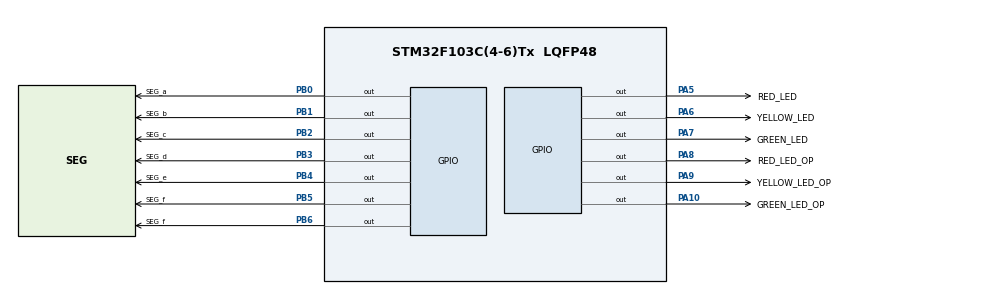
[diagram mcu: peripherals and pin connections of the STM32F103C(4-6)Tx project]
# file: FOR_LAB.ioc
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Mcu.Family=STM32F1
Mcu.Name=STM32F103C(4-6)Tx
Mcu.Package=LQFP48
NVIC.PriorityGroup=NVIC_PRIORITYGROUP_4
PA10.GPIO_Label=GREEN_LED_OP
PA10.Signal=GPIO_Output
PA5.GPIO_Label=RED_LED
PA5.Signal=GPIO_Output
PA6.GPIO_Label=YELLOW_LED
PA6.Signal=GPIO_Output
PA7.GPIO_Label=GREEN_LED
PA7.Signal=GPIO_Output
PA8.GPIO_Label=RED_LED_OP
PA8.Signal=GPIO_Output
PA9.GPIO_Label=YELLOW_LED_OP
PA9.Signal=GPIO_Output
PB0.GPIO_Label=SEG_a
PB0.Signal=GPIO_Output
PB1.GPIO_Label=SEG_b
PB1.Signal=GPIO_Output
PB2.GPIO_Label=SEG_c
PB2.Signal=GPIO_Output
PB3.GPIO_Label=SEG_d
PB3.Signal=GPIO_Output
PB4.GPIO_Label=SEG_e
PB4.Signal=GPIO_Output
PB5.GPIO_Label=SEG_f
PB5.Signal=GPIO_Output
PB6.GPIO_Label=SEG_f
PB6.Signal=GPIO_Output
ProjectManager.HeapSize=0x200
ProjectManager.StackSize=0x400
ProjectManager.TargetToolchain=STM32CubeIDE
RCC.APB1Freq_Value=8000000
RCC.APB2Freq_Value=8000000
VP_SYS_VS_ND.Mode=No_Debug
board=custom

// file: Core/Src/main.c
/* USER CODE BEGIN Header */
/**
  ******************************************************************************
  * @file           : main.c
  * @brief          : Main program body
  ******************************************************************************
  * @attention
  *
  * <h2><center>&copy; Copyright (c) 2025 STMicroelectronics.
  * All rights reserved.</center></h2>
  *
  * This software component is licensed by ST under BSD 3-Clause license,
  * the "License"; You may not use this file except in compliance with the
  * License. You may obtain a copy of the License at:
  *                        opensource.org/licenses/BSD-3-Clause
  *
  ******************************************************************************
  */
/* USER CODE END Header */
#include "main.h"

void SystemClock_Config(void);
static void MX_GPIO_Init(void);
/* USER CODE BEGIN PFP */
void clearAllClock();
void setNumberOnClock(int num);
void clearNumberOnClock(int num);
/* USER CODE END PFP */

/* USER CODE BEGIN 0 */
void clearAllClock(){
	HAL_GPIO_WritePin(GPIOA, LED_1, GPIO_PIN_SET);
	HAL_GPIO_WritePin(GPIOA, LED_2, GPIO_PIN_SET);
	HAL_GPIO_WritePin(GPIOA, LED_3, GPIO_PIN_SET);
	HAL_GPIO_WritePin(GPIOA, LED_4, GPIO_PIN_SET);
	HAL_GPIO_WritePin(GPIOA, LED_5, GPIO_PIN_SET);
	HAL_GPIO_WritePin(GPIOA, LED_6, GPIO_PIN_SET);
	HAL_GPIO_WritePin(GPIOA, LED_7, GPIO_PIN_SET);
	HAL_GPIO_WritePin(GPIOA, LED_8, GPIO_PIN_SET);
	HAL_GPIO_WritePin(GPIOA, LED_9, GPIO_PIN_SET);
	HAL_GPIO_WritePin(GPIOA, LED_10, GPIO_PIN_SET);
	HAL_GPIO_WritePin(GPIOA, LED_11, GPIO_PIN_SET);
	HAL_GPIO_WritePin(GPIOA, LED_0, GPIO_PIN_SET);
}

void setNumberOnClock(int num){
	switch(num){
	case 0:
		HAL_GPIO_WritePin(GPIOA, LED_0, GPIO_PIN_RESET);
		break;
	case 1:
		HAL_GPIO_WritePin(GPIOA, LED_1, GPIO_PIN_RESET);
		break;
	case 2:
		HAL_GPIO_WritePin(GPIOA, LED_2, GPIO_PIN_RESET);
		break;
	case 3:
		HAL_GPIO_WritePin(GPIOA, LED_3, GPIO_PIN_RESET);
		break;
	case 4:
		HAL_GPIO_WritePin(GPIOA, LED_4, GPIO_PIN_RESET);
		break;
	case 5:
		HAL_GPIO_WritePin(GPIOA, LED_5, GPIO_PIN_RESET);
		break;
	case 6:
		HAL_GPIO_WritePin(GPIOA, LED_6, GPIO_PIN_RESET);
		break;
	case 7:
		HAL_GPIO_WritePin(GPIOA, LED_7, GPIO_PIN_RESET);
		break;
	case 8:
		HAL_GPIO_WritePin(GPIOA, LED_8, GPIO_PIN_RESET);
		break;
	case 9:
		HAL_GPIO_WritePin(GPIOA, LED_9, GPIO_PIN_RESET);
		break;
	case 10:
		HAL_GPIO_WritePin(GPIOA, LED_10, GPIO_PIN_RESET);
		break;
	case 11:
		HAL_GPIO_WritePin(GPIOA, LED_11, GPIO_PIN_RESET);
		break;
	}
}

void clearNumberOnClock(int num){
	switch(num){
	case 0:
		HAL_GPIO_WritePin(GPIOA, LED_0, GPIO_PIN_SET);
		break;
	case 1:
		HAL_GPIO_WritePin(GPIOA, LED_1, GPIO_PIN_SET);
		break;
	case 2:
		HAL_GPIO_WritePin(GPIOA, LED_2, GPIO_PIN_SET);
		break;
	case 3:
		HAL_GPIO_WritePin(GPIOA, LED_3, GPIO_PIN_SET);
		break;
	case 4:
		HAL_GPIO_WritePin(GPIOA, LED_4, GPIO_PIN_SET);
		break;
	case 5:
		HAL_GPIO_WritePin(GPIOA, LED_5, GPIO_PIN_SET);
		break;
	case 6:
		HAL_GPIO_WritePin(GPIOA, LED_6, GPIO_PIN_SET);
		break;
	case 7:
		HAL_GPIO_WritePin(GPIOA, LED_7, GPIO_PIN_SET);
		break;
	case 8:
		HAL_GPIO_WritePin(GPIOA, LED_8, GPIO_PIN_SET);
		break;
	case 9:
		HAL_GPIO_WritePin(GPIOA, LED_9, GPIO_PIN_SET);
		break;
	case 10:
		HAL_GPIO_WritePin(GPIOA, LED_10, GPIO_PIN_SET);
		break;
	case 11:
		HAL_GPIO_WritePin(GPIOA, LED_11, GPIO_PIN_SET);
		break;
	}
}
/* USER CODE END 0 */

int main(void)
{

  /* MCU Configuration--------------------------------------------------------*/

  /* Reset of all peripherals, Initializes the Flash interface and the Systick. */
  HAL_Init();

  /* Configure the system clock */
  SystemClock_Config();

  /* Initialize all configured peripherals */
  MX_GPIO_Init();

  /* Infinite loop */
  /* USER CODE BEGIN WHILE */
  int sec = 0;
  int min = 55;
  int hour = 5;
  clearAllClock();
  while (1)
  {
	  if(sec == 60){
		  ++min;
		  sec = 0;
	  }
	  if(min == 60){
		  ++hour;
		  min = 0;
	  }
	  if(hour == 24){
		  hour = 0;
	  }
	  setNumberOnClock(sec / 5);
	  setNumberOnClock(min / 5);
	  setNumberOnClock(hour % 12);
	  HAL_Delay(100);
	  clearNumberOnClock(sec / 5);
	  clearNumberOnClock(min / 5);
	  clearNumberOnClock(hour % 12);

	  ++sec;
    /* USER CODE END WHILE */

  }
}

void SystemClock_Config(void)
{
  RCC_OscInitTypeDef RCC_OscInitStruct = {0};
  RCC_ClkInitTypeDef RCC_ClkInitStruct = {0};

  /** Initializes the RCC Oscillators according to the specified parameters
  * in the RCC_OscInitTypeDef structure.
  */
  RCC_OscInitStruct.OscillatorType = RCC_OSCILLATORTYPE_HSI;
  RCC_OscInitStruct.HSIState = RCC_HSI_ON;
  RCC_OscInitStruct.HSICalibrationValue = RCC_HSICALIBRATION_DEFAULT;
  RCC_OscInitStruct.PLL.PLLState = RCC_PLL_NONE;
  if (HAL_RCC_OscConfig(&RCC_OscInitStruct) != HAL_OK)
  {
    Error_Handler();
  }
  /** Initializes the CPU, AHB and APB buses clocks
  */
  RCC_ClkInitStruct.ClockType = RCC_CLOCKTYPE_HCLK|RCC_CLOCKTYPE_SYSCLK
                              |RCC_CLOCKTYPE_PCLK1|RCC_CLOCKTYPE_PCLK2;
  RCC_ClkInitStruct.SYSCLKSource = RCC_SYSCLKSOURCE_HSI;
  RCC_ClkInitStruct.AHBCLKDivider = RCC_SYSCLK_DIV1;
  RCC_ClkInitStruct.APB1CLKDivider = RCC_HCLK_DIV1;
  RCC_ClkInitStruct.APB2CLKDivider = RCC_HCLK_DIV1;

  if (HAL_RCC_ClockConfig(&RCC_ClkInitStruct, FLASH_LATENCY_0) != HAL_OK)
  {
    Error_Handler();
  }
}

static void MX_GPIO_Init(void)
{
  GPIO_InitTypeDef GPIO_InitStruct = {0};

  /* GPIO Ports Clock Enable */
  __HAL_RCC_GPIOA_CLK_ENABLE();

  /*Configure GPIO pin Output Level */
  HAL_GPIO_WritePin(GPIOA, LED_0|LED_1|LED_2|LED_3|LED_4|LED_5|LED_6|LED_7|LED_8|LED_9|LED_10|LED_11, GPIO_PIN_RESET);

  /*Configure GPIO pin : RED_LED_Pin */
  GPIO_InitStruct.Pin = LED_0|LED_1|LED_2|LED_3|LED_4|LED_5|LED_6|LED_7|LED_8|LED_9|LED_10|LED_11;
  GPIO_InitStruct.Mode = GPIO_MODE_OUTPUT_PP;
  GPIO_InitStruct.Pull = GPIO_NOPULL;
  GPIO_InitStruct.Speed = GPIO_SPEED_FREQ_LOW;
  HAL_GPIO_Init(GPIOA, &GPIO_InitStruct);

}

void Error_Handler(void)
{
  __disable_irq();
  while (1)
  {
  }
}

/************************ (C) COPYRIGHT STMicroelectronics *****END OF FILE****/
